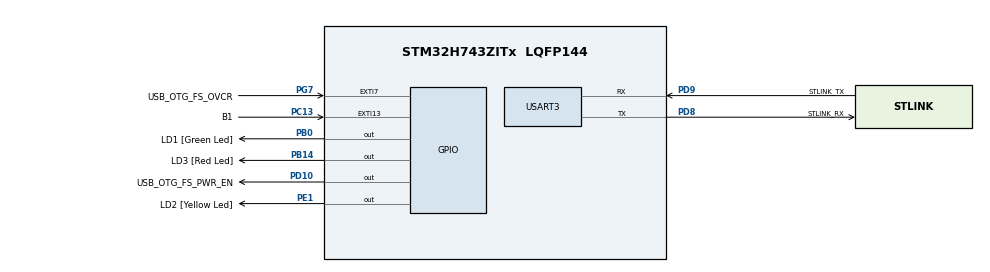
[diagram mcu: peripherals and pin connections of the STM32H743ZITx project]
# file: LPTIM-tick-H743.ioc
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CORTEX_M7.CPU_DCache=Enabled
CORTEX_M7.CPU_ICache=Enabled
FREERTOS.Tasks01=mainTask,24,256,mainOsTask,Default,NULL,Dynamic,NULL,NULL;tickTest,32,128,vTttOsTask,Default,argument,Dynamic,NULL,NULL
FREERTOS.Timers01=ledTimer,ledTimerCallback,osTimerPeriodic,Default,NULL,Dynamic,NULL;resultsTimer,resultsTimerCallback,osTimerPeriodic,Default,NULL,Dynamic,NULL
FREERTOS.configTIMER_TASK_PRIORITY=6
FREERTOS.configUSE_TICKLESS_IDLE=2
FREERTOS.configUSE_TICK_HOOK=1
LPTIM2.ClockPrescaler=LPTIM_PRESCALER_DIV1
Mcu.Family=STM32H7
Mcu.Name=STM32H743ZITx
Mcu.Package=LQFP144
NVIC.EXTI15_10_IRQn=true\:15\:0\:true\:false\:true\:true\:true\:true\:true
NVIC.LPTIM3_IRQn=true\:15\:0\:true\:false\:true\:true\:true\:true\:true
NVIC.PriorityGroup=NVIC_PRIORITYGROUP_4
NVIC.TIM6_DAC_IRQn=true\:15\:0\:false\:false\:true\:false\:false\:true\:true
NVIC.TimeBase=TIM6_DAC_IRQn
NVIC.TimeBaseIP=TIM6
NVIC.USART3_IRQn=true\:15\:0\:true\:false\:true\:true\:true\:true\:true
PA1.Signal=ETH_REF_CLK
PA11.Signal=USB_OTG_FS_DM
PA12.Signal=USB_OTG_FS_DP
PA13\ (JTMS/SWDIO).GPIO_Label=JTMS
PA13\ (JTMS/SWDIO).Signal=DEBUG_JTMS-SWDIO
PA14\ (JTCK/SWCLK).GPIO_Label=JTCK
PA14\ (JTCK/SWCLK).Signal=DEBUG_JTCK-SWCLK
PA2.Signal=ETH_MDIO
PA7.Signal=ETH_CRS_DV
PA8.Signal=USB_OTG_FS_SOF
PA9.Signal=USB_OTG_FS_VBUS
PB0.GPIO_Label=LD1 [Green Led]
PB0.Signal=GPIO_Output
PB13.Signal=ETH_TXD1
PB14.GPIO_Label=LD3 [Red Led]
PB14.Signal=GPIO_Output
PC1.Signal=ETH_MDC
PC13.GPIO_Label=B1
PC13.Signal=GPXTI13
PC14-OSC32_IN\ (OSC32_IN).Mode=LSE-External-Oscillator
PC14-OSC32_IN\ (OSC32_IN).Signal=RCC_OSC32_IN
PC15-OSC32_OUT\ (OSC32_OUT).Mode=LSE-External-Oscillator
PC15-OSC32_OUT\ (OSC32_OUT).Signal=RCC_OSC32_OUT
PC4.Signal=ETH_RXD0
PC5.Signal=ETH_RXD1
PD10.GPIO_Label=USB_OTG_FS_PWR_EN
PD10.Signal=GPIO_Output
PD8.GPIO_Label=STLINK_RX
PD8.Mode=Asynchronous
PD8.Signal=USART3_TX
PD9.GPIO_Label=STLINK_TX
PD9.Mode=Asynchronous
PD9.Signal=USART3_RX
PE1.GPIO_Label=LD2 [Yellow Led]
PE1.Signal=GPIO_Output
PG11.Signal=ETH_TX_EN
PG13.Signal=ETH_TXD0
PG7.GPIO_Label=USB_OTG_FS_OVCR
PG7.Signal=GPXTI7
PH0-OSC_IN\ (PH0).Signal=RCC_OSC_IN
PH1-OSC_OUT\ (PH1).Signal=RCC_OSC_OUT
ProjectManager.HeapSize=0x200
ProjectManager.StackSize=0x400
ProjectManager.TargetToolchain=Makefile
RCC.ADCFreq_Value=32250000
RCC.APB1Freq_Value=8000000
RCC.APB2Freq_Value=16000000
RCC.APB3Freq_Value=16000000
RCC.APB4Freq_Value=8000000
RCC.CortexFreq_Value=16000000
RCC.D2PPRE1=RCC_APB1_DIV2
RCC.D3PPRE=RCC_APB4_DIV2
RCC.HCLKFreq_Value=16000000
RCC.HSIDiv=RCC_PLLSAIDIVR_4
RCC.LPTIM2CLockSelection=RCC_LPTIM2CLKSOURCE_LSE
RCC.LPTIM345CLockSelection=RCC_LPTIM345CLKSOURCE_LSE
RCC.ProductRev=revY
RCC.RTCClockSelection=RCC_RTCCLKSOURCE_LSE
RCC.SYSCLKFreq_VALUE=16000000
RCC.USART234578CLockSelection=RCC_USART234578CLKSOURCE_HSI
RCC.USBFreq_Value=32250000
RTC.AsynchPrediv=3
RTC.SynchPrediv=8191
USART3.VirtualMode-Asynchronous=VM_ASYNC
VP_FREERTOS_VS_CMSIS_V2.Mode=CMSIS_V2
VP_LPTIM2_VS_LPTIM_counterModeInternalClock.Mode=Counts__internal_clock_event_00
VP_LPTIM3_VS_LPTIM_counterModeInternalClock.Mode=Counts__internal_clock_event_00
VP_RTC_VS_RTC_Activate.Mode=RTC_Enabled
VP_SYS_VS_tim6.Mode=TIM6
board=NUCLEO-H743ZI2

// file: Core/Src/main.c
/* USER CODE BEGIN Header */
/**
  ******************************************************************************
  * @file           : main.c
  * @brief          : Main program body
  ******************************************************************************
  * @attention
  *
  * Copyright (c) 2023 STMicroelectronics.
  * All rights reserved.
  *
  * This software is licensed under terms that can be found in the LICENSE file
  * in the root directory of this software component.
  * If no LICENSE file comes with this software, it is provided AS-IS.
  *
  ******************************************************************************
  */
/* USER CODE END Header */
#include "main.h"
#include "cmsis_os.h"

/* USER CODE BEGIN Includes */

#include <stdio.h>
#include <string.h>
#include "testTickTiming.h"
#include "ulp.h"
#include "timers.h"

/* USER CODE END Includes */

/* USER CODE BEGIN PD */
#define NOTIFICATION_FLAG_B1_PIN    (1UL << 0)
#define NOTIFICATION_FLAG_LED_BLIP  (1UL << 1)
#define NOTIFICATION_FLAG_RESULTS   (1UL << 2)
/* USER CODE END PD */

LPTIM_HandleTypeDef hlptim3;

RTC_HandleTypeDef hrtc;

UART_HandleTypeDef huart3;

/* Definitions for mainTask */
osThreadId_t mainTaskHandle;
const osThreadAttr_t mainTask_attributes = {
  .name = "mainTask",
  .stack_size = 256 * 4,
  .priority = (osPriority_t) osPriorityNormal,
};
/* Definitions for tickTest */
osThreadId_t tickTestHandle;
const osThreadAttr_t tickTest_attributes = {
  .name = "tickTest",
  .stack_size = 128 * 4,
  .priority = (osPriority_t) osPriorityAboveNormal,
};
/* Definitions for ledTimer */
osTimerId_t ledTimerHandle;
const osTimerAttr_t ledTimer_attributes = {
  .name = "ledTimer"
};
/* Definitions for resultsTimer */
osTimerId_t resultsTimerHandle;
const osTimerAttr_t resultsTimer_attributes = {
  .name = "resultsTimer"
};

void SystemClock_Config(void);
static void MX_GPIO_Init(void);
static void MX_USART3_UART_Init(void);
static void MX_RTC_Init(void);
static void MX_LPTIM3_Init(void);
void mainOsTask(void *argument);
void ledTimerCallback(void *argument);
void resultsTimerCallback(void *argument);

/* USER CODE BEGIN PFP */
extern void vTttOsTask(void *argument);

/* USER CODE END PFP */

/* USER CODE BEGIN 0 */
#define DEMO_STATE_TEST_1  0
#define DEMO_STATE_TEST_2  1
#define DEMO_STATE_TEST_3  2
#define MAX_DEMO_STATE     DEMO_STATE_TEST_3
static void vSetDemoState( BaseType_t state )
{
   //      Assume for now that we're activating a demo state that doesn't need LPTIM3, our stress-test actor.
   //
   if (LPTIM3->CR & LPTIM_CR_ENABLE)
   {
      HAL_LPTIM_Counter_Stop_IT(&hlptim3);
      vUlpOnPeripheralsInactive(ulpPERIPHERAL_LPTIM3);
   }

   uint32_t ledIntervalMs = 0;
   if (state == DEMO_STATE_TEST_1)
   {
      //      Demonstrate minimum energy consumption.  With configUSE_TICKLESS_IDLE == 2 (lptimTick.c), we
      // draw only 2uA, with RTC, and with FreeRTOS timers/timeouts/delays active.
      //
      ledIntervalMs = 5000UL;
      vTttSetEvalInterval( portMAX_DELAY );
      osTimerStop(resultsTimerHandle);
   }
   else if (state == DEMO_STATE_TEST_2)
   {
      //      Instruct the tick-timing test to sample the tick timing every 10 milliseconds.  Sampling faster
      // would require that we open the pass/fail criteria to accommodate a couple hundred microseconds of
      // jitter or tick "jump" since that criteria is expressed as a percentage of the sampling interval.
      // Sampling much slower might allow large jitter or "jump" that should be caught as an error, again
      // because jitter is measured as a percentage of the sampling interval.
      //
      #define TICK_TEST_SAMPLING_INTERVAL_MS 10

      //      Demonstrate energy consumption waking every 10ms, and test the tick timing.
      //
      ledIntervalMs = 2000UL;
      vTttSetEvalInterval( pdMS_TO_TICKS(TICK_TEST_SAMPLING_INTERVAL_MS) );
      osTimerStart(resultsTimerHandle, 1000UL);
   }
   else if (state == DEMO_STATE_TEST_3)
   {
      //      In state 2, add an actor to stress the tick timing.  Use LPTIM3 interrupts since that timer
      // keeps operating in STOP 1 mode, which allows us to keep demonstrating low-power operation.
      //
      //      Carefully select the interval of the nuisance interrupts to be slightly longer than the tick-
      // test sampling interval.  The sampling interval drives the "expected idle time" in the tickless logic,
      // so a nuisance interval slightly longer ensures lots of different interrupt timing, including some
      // tickless periods lasting the full expected idle time.  For example, with a 10ms sampling interval,
      // there are 327.68 LSE cycles between samplings, on average.  The code below would set up the nuisance
      // interrupt to be every 328 LSE cycles for that case.  (The value passed to the HAL is 327, but the
      // period ends up being 328 due to LPTIM reload behavior.)
      //
      //      Based on the discussion above, a good long soak test is strongly recommended here.
      //
      vUlpOnPeripheralsActive(ulpPERIPHERAL_LPTIM3);
      HAL_LPTIM_Counter_Start_IT(&hlptim3, (TICK_TEST_SAMPLING_INTERVAL_MS * LSE_VALUE) / 1000U);

      ledIntervalMs = 1000UL;
      vTttSetEvalInterval( pdMS_TO_TICKS(TICK_TEST_SAMPLING_INTERVAL_MS) );
      osTimerStart(resultsTimerHandle, 1000UL);
   }
   else
   {
      configASSERT(0);
   }

   if (ledIntervalMs != 0)
   {
      osTimerStart(ledTimerHandle, ledIntervalMs);
      xTaskNotify(mainTaskHandle, NOTIFICATION_FLAG_LED_BLIP, eSetBits);
   }

   char banner[100];
   int len = sprintf(banner, "\r\n\r\nRunning Test %d.", (int)state + 1);
   if (state != DEMO_STATE_TEST_1)
   {
      len += sprintf(&banner[len], "  Jumps are shown as %% of %d ms.\r\n",
                     TICK_TEST_SAMPLING_INTERVAL_MS);
   }
   HAL_UART_Transmit(&huart3, (uint8_t*)banner, len, HAL_MAX_DELAY);
}

static int lDescribeTickTestResults(TttResults_t* results, int periodNumber, char* dest)
{
   int durationSeconds = (results->durationSs + results->subsecondsPerSecond/2) / results->subsecondsPerSecond;
   return (sprintf(dest, "Period %d: %d s, drift: %d/%d s, jump: %+d%% (min), %+d%% (max)",
                   periodNumber,
                   durationSeconds,
                   (int)results->driftSs, (int) results->subsecondsPerSecond,
                   results->minDriftRatePct,
                   results->maxDriftRatePct));
}

static BaseType_t xUpdateResults( int xDemoState )
{
   static int resultsCount = 0;

   TttResults_t complete, inProgress;
   vTttGetResults(&complete, &inProgress);

   //      Build the results text here.  Use a "large" buffer because the results might require two lines of
   // terminal output.  The buffer is static so its contents remain valid even after we return from this
   // function.  In turn this allows us to return to our caller without waiting for the UART to finish.
   //
   static char textResults[200];
   static const char* const eraseLine = "\r\x1B[K";
   int resultsLen = sprintf(textResults, "%s", eraseLine);

   if (resultsCount != complete.resultsCounter)
   {
      resultsCount = complete.resultsCounter;
      if (resultsCount != 0)
      {
         resultsLen += lDescribeTickTestResults(&complete, resultsCount, &textResults[resultsLen]);
         resultsLen += sprintf(&textResults[resultsLen], "\r\n");
      }
   }

   resultsLen += lDescribeTickTestResults(&inProgress, resultsCount + 1, &textResults[resultsLen]);

   //      Send the results to the terminal.  In test 3, use interrupt-driven I/O with the terminal as
   // a way to enhance the stress test.  The interrupts induce a rapid sequence of early wake-ups from
   // tickless idle (if enabled).  This barrage of early wake-ups is a great stress test for the tickless
   // logic.  In the other demo states, use busy-wait I/O to avoid adding a test actor when we don't want one.
   //
   if (xDemoState == DEMO_STATE_TEST_3)
   {
      vUlpOnPeripheralsActive(ulpPERIPHERAL_USART3);
      HAL_UART_Transmit_IT(&huart3, (uint8_t*)textResults, resultsLen);
   }
   else
   {
      //      Because busy-wait I/O keeps this task "ready", it also prevents tickless idle, so we don't need
      // to bother notifying the ULP driver that the UART peripheral is active.
      //
      // vUlpOnPeripheralsActive(ulpPERIPHERAL_USART3);
      HAL_UART_Transmit(&huart3, (uint8_t*)textResults, resultsLen, HAL_MAX_DELAY);
      // vUlpOnPeripheralsInactive(ulpPERIPHERAL_USART3);
   }

   //      Apply some pass/fail criteria and report any failures.
   //
   BaseType_t isFailure = pdFALSE;
   if (inProgress.minDriftRatePct < -2 || inProgress.maxDriftRatePct > 2)
   {
      isFailure = pdTRUE;
   }

   return (isFailure);
}

void HAL_UART_TxCpltCallback(UART_HandleTypeDef *huart)
{
   vUlpOnPeripheralsInactiveFromISR(ulpPERIPHERAL_USART3);
}

void vBlipLed( uint32_t ms )
{
   HAL_GPIO_WritePin(LD2_GPIO_Port, LD2_Pin, GPIO_PIN_SET);
   osDelay(ms);
   HAL_GPIO_WritePin(LD2_GPIO_Port, LD2_Pin, GPIO_PIN_RESET);
}
/* USER CODE END 0 */

int main(void)
{
/* Enable the CPU Cache */

  /* Enable I-Cache---------------------------------------------------------*/
  SCB_EnableICache();

  /* Enable D-Cache---------------------------------------------------------*/
  SCB_EnableDCache();

  /* MCU Configuration--------------------------------------------------------*/

  /* Reset of all peripherals, Initializes the Flash interface and the Systick. */
  HAL_Init();

  /* USER CODE BEGIN Init */

  //      Compensate for a CubeMX omission in HAL_InitTick() in stm32l4xx_hal_timebase_tim.c.
  //
  uwTickPrio = TICK_INT_PRIORITY;

  /* USER CODE END Init */

  /* Configure the system clock */
  SystemClock_Config();

  /* USER CODE BEGIN SysInit */

  //      Initialize Ultra-Low Power support (ULP).
  //
  vUlpInit();
  /* USER CODE END SysInit */

  /* Initialize all configured peripherals */
  MX_GPIO_Init();
  MX_USART3_UART_Init();
  MX_RTC_Init();
  MX_LPTIM3_Init();
  /* USER CODE BEGIN 2 */

  //      If the user is currently holding the blue button down, clear DBGMCU->CR.  This step prevents the
  // debugger from keeping clocks and regulators running when we use a low-power mode.  This in turn allows
  // the user to observe the "true" impact of low-power modes on current consumption.  Note that the debugger
  // will lose its connection as soon as we use a low-power mode, but we don't have any choice if we want to
  // see "true" current consumption.
  //
  if ( HAL_GPIO_ReadPin(B1_GPIO_Port, B1_Pin) == GPIO_PIN_SET )  // In H743Nucleo the blue button is pulled up
  {
     DBGMCU->CR = 0; // POR and BOR also clear this register, but not the reset pin, and not other resets.
  }

  /* USER CODE END 2 */

  /* Init scheduler */
  osKernelInitialize();

  /* Create the timer(s) */
  /* creation of ledTimer */
  ledTimerHandle = osTimerNew(ledTimerCallback, osTimerPeriodic, NULL, &ledTimer_attributes);

  /* creation of resultsTimer */
  resultsTimerHandle = osTimerNew(resultsTimerCallback, osTimerPeriodic, NULL, &resultsTimer_attributes);

  /* Create the thread(s) */
  /* creation of mainTask */
  mainTaskHandle = osThreadNew(mainOsTask, NULL, &mainTask_attributes);

  /* creation of tickTest */
  tickTestHandle = osThreadNew(vTttOsTask, &hrtc, &tickTest_attributes);

  /* Start scheduler */
  osKernelStart();

  /* We should never get here as control is now taken by the scheduler */
  /* Infinite loop */
  while (1)
  {

  }
}

void SystemClock_Config(void)
{
  RCC_OscInitTypeDef RCC_OscInitStruct = {0};
  RCC_ClkInitTypeDef RCC_ClkInitStruct = {0};

  /** Supply configuration update enable
  */
  HAL_PWREx_ConfigSupply(PWR_LDO_SUPPLY);

  /** Configure the main internal regulator output voltage
  */
  __HAL_PWR_VOLTAGESCALING_CONFIG(PWR_REGULATOR_VOLTAGE_SCALE3);

  while(!__HAL_PWR_GET_FLAG(PWR_FLAG_VOSRDY)) {}

  /** Configure LSE Drive Capability
  */
  HAL_PWR_EnableBkUpAccess();
  __HAL_RCC_LSEDRIVE_CONFIG(RCC_LSEDRIVE_LOW);

  /** Initializes the RCC Oscillators according to the specified parameters
  * in the RCC_OscInitTypeDef structure.
  */
  RCC_OscInitStruct.OscillatorType = RCC_OSCILLATORTYPE_HSI|RCC_OSCILLATORTYPE_LSE;
  RCC_OscInitStruct.LSEState = RCC_LSE_ON;
  RCC_OscInitStruct.HSIState = RCC_HSI_DIV4;
  RCC_OscInitStruct.HSICalibrationValue = RCC_HSICALIBRATION_DEFAULT;
  RCC_OscInitStruct.PLL.PLLState = RCC_PLL_NONE;
  if (HAL_RCC_OscConfig(&RCC_OscInitStruct) != HAL_OK)
  {
    Error_Handler();
  }

  /** Initializes the CPU, AHB and APB buses clocks
  */
  RCC_ClkInitStruct.ClockType = RCC_CLOCKTYPE_HCLK|RCC_CLOCKTYPE_SYSCLK
                              |RCC_CLOCKTYPE_PCLK1|RCC_CLOCKTYPE_PCLK2
                              |RCC_CLOCKTYPE_D3PCLK1|RCC_CLOCKTYPE_D1PCLK1;
  RCC_ClkInitStruct.SYSCLKSource = RCC_SYSCLKSOURCE_HSI;
  RCC_ClkInitStruct.SYSCLKDivider = RCC_SYSCLK_DIV1;
  RCC_ClkInitStruct.AHBCLKDivider = RCC_HCLK_DIV1;
  RCC_ClkInitStruct.APB3CLKDivider = RCC_APB3_DIV1;
  RCC_ClkInitStruct.APB1CLKDivider = RCC_APB1_DIV2;
  RCC_ClkInitStruct.APB2CLKDivider = RCC_APB2_DIV1;
  RCC_ClkInitStruct.APB4CLKDivider = RCC_APB4_DIV2;

  if (HAL_RCC_ClockConfig(&RCC_ClkInitStruct, FLASH_LATENCY_0) != HAL_OK)
  {
    Error_Handler();
  }
}

static void MX_LPTIM3_Init(void)
{

  hlptim3.Instance = LPTIM3;
  hlptim3.Init.Clock.Source = LPTIM_CLOCKSOURCE_APBCLOCK_LPOSC;
  hlptim3.Init.Clock.Prescaler = LPTIM_PRESCALER_DIV1;
  hlptim3.Init.Trigger.Source = LPTIM_TRIGSOURCE_SOFTWARE;
  hlptim3.Init.OutputPolarity = LPTIM_OUTPUTPOLARITY_HIGH;
  hlptim3.Init.UpdateMode = LPTIM_UPDATE_IMMEDIATE;
  hlptim3.Init.CounterSource = LPTIM_COUNTERSOURCE_INTERNAL;
  hlptim3.Init.Input1Source = LPTIM_INPUT1SOURCE_GPIO;
  if (HAL_LPTIM_Init(&hlptim3) != HAL_OK)
  {
    Error_Handler();
  }
  /* USER CODE BEGIN LPTIM3_Init 2 */
  // This is required for LPTIM3 to work in stop mode.
  __HAL_RCC_LPTIM3_CLKAM_ENABLE();
  // The same for sleep mode.
  __HAL_RCC_LPTIM3_CLK_SLEEP_ENABLE();
  /* USER CODE END LPTIM3_Init 2 */

}

static void MX_RTC_Init(void)
{

  /** Initialize RTC Only
  */
  hrtc.Instance = RTC;
  hrtc.Init.HourFormat = RTC_HOURFORMAT_24;
  hrtc.Init.AsynchPrediv = 3;
  hrtc.Init.SynchPrediv = 8191;
  hrtc.Init.OutPut = RTC_OUTPUT_DISABLE;
  hrtc.Init.OutPutPolarity = RTC_OUTPUT_POLARITY_HIGH;
  hrtc.Init.OutPutType = RTC_OUTPUT_TYPE_OPENDRAIN;
  hrtc.Init.OutPutRemap = RTC_OUTPUT_REMAP_NONE;
  if (HAL_RTC_Init(&hrtc) != HAL_OK)
  {
    Error_Handler();
  }

}

static void MX_USART3_UART_Init(void)
{

  huart3.Instance = USART3;
  huart3.Init.BaudRate = 115200;
  huart3.Init.WordLength = UART_WORDLENGTH_8B;
  huart3.Init.StopBits = UART_STOPBITS_1;
  huart3.Init.Parity = UART_PARITY_NONE;
  huart3.Init.Mode = UART_MODE_TX_RX;
  huart3.Init.HwFlowCtl = UART_HWCONTROL_NONE;
  huart3.Init.OverSampling = UART_OVERSAMPLING_16;
  huart3.Init.OneBitSampling = UART_ONE_BIT_SAMPLE_DISABLE;
  huart3.Init.ClockPrescaler = UART_PRESCALER_DIV1;
  huart3.AdvancedInit.AdvFeatureInit = UART_ADVFEATURE_NO_INIT;
  if (HAL_UART_Init(&huart3) != HAL_OK)
  {
    Error_Handler();
  }
  if (HAL_UARTEx_SetTxFifoThreshold(&huart3, UART_TXFIFO_THRESHOLD_1_8) != HAL_OK)
  {
    Error_Handler();
  }
  if (HAL_UARTEx_SetRxFifoThreshold(&huart3, UART_RXFIFO_THRESHOLD_1_8) != HAL_OK)
  {
    Error_Handler();
  }
  if (HAL_UARTEx_DisableFifoMode(&huart3) != HAL_OK)
  {
    Error_Handler();
  }

}

static void MX_GPIO_Init(void)
{
  GPIO_InitTypeDef GPIO_InitStruct = {0};

  /* GPIO Ports Clock Enable */
  __HAL_RCC_GPIOC_CLK_ENABLE();
  __HAL_RCC_GPIOH_CLK_ENABLE();
  __HAL_RCC_GPIOA_CLK_ENABLE();
  __HAL_RCC_GPIOB_CLK_ENABLE();
  __HAL_RCC_GPIOD_CLK_ENABLE();
  __HAL_RCC_GPIOG_CLK_ENABLE();
  __HAL_RCC_GPIOE_CLK_ENABLE();

  /*Configure GPIO pin Output Level */
  HAL_GPIO_WritePin(GPIOB, LD1_Pin|LD3_Pin, GPIO_PIN_RESET);

  /*Configure GPIO pin Output Level */
  HAL_GPIO_WritePin(USB_OTG_FS_PWR_EN_GPIO_Port, USB_OTG_FS_PWR_EN_Pin, GPIO_PIN_RESET);

  /*Configure GPIO pin Output Level */
  HAL_GPIO_WritePin(LD2_GPIO_Port, LD2_Pin, GPIO_PIN_RESET);

  /*Configure GPIO pin : B1_Pin */
  GPIO_InitStruct.Pin = B1_Pin;
  GPIO_InitStruct.Mode = GPIO_MODE_IT_RISING;
  GPIO_InitStruct.Pull = GPIO_NOPULL;
  HAL_GPIO_Init(B1_GPIO_Port, &GPIO_InitStruct);

  /*Configure GPIO pins : PC1 PC4 PC5 */
  GPIO_InitStruct.Pin = GPIO_PIN_1|GPIO_PIN_4|GPIO_PIN_5;
  GPIO_InitStruct.Mode = GPIO_MODE_AF_PP;
  GPIO_InitStruct.Pull = GPIO_NOPULL;
  GPIO_InitStruct.Speed = GPIO_SPEED_FREQ_LOW;
  GPIO_InitStruct.Alternate = GPIO_AF11_ETH;
  HAL_GPIO_Init(GPIOC, &GPIO_InitStruct);

  /*Configure GPIO pins : PA1 PA2 PA7 */
  GPIO_InitStruct.Pin = GPIO_PIN_1|GPIO_PIN_2|GPIO_PIN_7;
  GPIO_InitStruct.Mode = GPIO_MODE_AF_PP;
  GPIO_InitStruct.Pull = GPIO_NOPULL;
  GPIO_InitStruct.Speed = GPIO_SPEED_FREQ_LOW;
  GPIO_InitStruct.Alternate = GPIO_AF11_ETH;
  HAL_GPIO_Init(GPIOA, &GPIO_InitStruct);

  /*Configure GPIO pins : LD1_Pin LD3_Pin */
  GPIO_InitStruct.Pin = LD1_Pin|LD3_Pin;
  GPIO_InitStruct.Mode = GPIO_MODE_OUTPUT_PP;
  GPIO_InitStruct.Pull = GPIO_NOPULL;
  GPIO_InitStruct.Speed = GPIO_SPEED_FREQ_LOW;
  HAL_GPIO_Init(GPIOB, &GPIO_InitStruct);

  /*Configure GPIO pin : PB13 */
  GPIO_InitStruct.Pin = GPIO_PIN_13;
  GPIO_InitStruct.Mode = GPIO_MODE_AF_PP;
  GPIO_InitStruct.Pull = GPIO_NOPULL;
  GPIO_InitStruct.Speed = GPIO_SPEED_FREQ_LOW;
  GPIO_InitStruct.Alternate = GPIO_AF11_ETH;
  HAL_GPIO_Init(GPIOB, &GPIO_InitStruct);

  /*Configure GPIO pin : USB_OTG_FS_PWR_EN_Pin */
  GPIO_InitStruct.Pin = USB_OTG_FS_PWR_EN_Pin;
  GPIO_InitStruct.Mode = GPIO_MODE_OUTPUT_PP;
  GPIO_InitStruct.Pull = GPIO_NOPULL;
  GPIO_InitStruct.Speed = GPIO_SPEED_FREQ_LOW;
  HAL_GPIO_Init(USB_OTG_FS_PWR_EN_GPIO_Port, &GPIO_InitStruct);

  /*Configure GPIO pin : USB_OTG_FS_OVCR_Pin */
  GPIO_InitStruct.Pin = USB_OTG_FS_OVCR_Pin;
  GPIO_InitStruct.Mode = GPIO_MODE_IT_RISING;
  GPIO_InitStruct.Pull = GPIO_NOPULL;
  HAL_GPIO_Init(USB_OTG_FS_OVCR_GPIO_Port, &GPIO_InitStruct);

  /*Configure GPIO pins : PA8 PA11 PA12 */
  GPIO_InitStruct.Pin = GPIO_PIN_8|GPIO_PIN_11|GPIO_PIN_12;
  GPIO_InitStruct.Mode = GPIO_MODE_AF_PP;
  GPIO_InitStruct.Pull = GPIO_NOPULL;
  GPIO_InitStruct.Speed = GPIO_SPEED_FREQ_LOW;
  GPIO_InitStruct.Alternate = GPIO_AF10_OTG1_FS;
  HAL_GPIO_Init(GPIOA, &GPIO_InitStruct);

  /*Configure GPIO pins : PG11 PG13 */
  GPIO_InitStruct.Pin = GPIO_PIN_11|GPIO_PIN_13;
  GPIO_InitStruct.Mode = GPIO_MODE_AF_PP;
  GPIO_InitStruct.Pull = GPIO_NOPULL;
  GPIO_InitStruct.Speed = GPIO_SPEED_FREQ_LOW;
  GPIO_InitStruct.Alternate = GPIO_AF11_ETH;
  HAL_GPIO_Init(GPIOG, &GPIO_InitStruct);

  /*Configure GPIO pin : LD2_Pin */
  GPIO_InitStruct.Pin = LD2_Pin;
  GPIO_InitStruct.Mode = GPIO_MODE_OUTPUT_PP;
  GPIO_InitStruct.Pull = GPIO_NOPULL;
  GPIO_InitStruct.Speed = GPIO_SPEED_FREQ_LOW;
  HAL_GPIO_Init(LD2_GPIO_Port, &GPIO_InitStruct);

  /* EXTI interrupt init*/
  HAL_NVIC_SetPriority(EXTI15_10_IRQn, 15, 0);
  HAL_NVIC_EnableIRQ(EXTI15_10_IRQn);

}

/* USER CODE BEGIN 4 */

void HAL_GPIO_EXTI_Callback(uint16_t GPIO_Pin)
{
   if (GPIO_Pin == B1_Pin)
   {
      //      Don't attempt to notify a task that isn't yet created.  Drop the button press instead.
      //
      if ( mainTaskHandle != NULL )
      {
         BaseType_t xWasHigherPriorityTaskWoken = pdFALSE;
         xTaskNotifyFromISR( mainTaskHandle, NOTIFICATION_FLAG_B1_PIN, eSetBits, &xWasHigherPriorityTaskWoken);
         portYIELD_FROM_ISR(xWasHigherPriorityTaskWoken);
      }
   }
}

void HAL_LPTIM_AutoReloadMatchCallback(LPTIM_HandleTypeDef *hlptim)
{
   //      The HAL calls this function when LPTIM3 has an ARR match event.  We use LPTIM3 as a stress-test
   // actor during test state 2.  This function has nothing to do with lptimTick.c or LPTIM3, but it does
   // help us *test* the tick timing provided by that code and that timer.

   //      Wake the main task, but for no reason.  We're just trying to stress test the tick timing.
   //
   BaseType_t xWasHigherPriorityTaskWoken = pdFALSE;
   xTaskNotifyFromISR( mainTaskHandle, 0, eNoAction, &xWasHigherPriorityTaskWoken);
   portYIELD_FROM_ISR(xWasHigherPriorityTaskWoken);
}

/* USER CODE END 4 */

void mainOsTask(void *argument)
{
  /* USER CODE BEGIN 5 */

   //      Stop the timer that provides the HAL tick.  Now it won't needlessly interrupt tickless idle periods
   // that use sleep mode.  (The HAL tick already can't interrupt tickless idle periods that use stop mode,
   // because the HAL timer doesn't operate in stop mode.)  In a real application, the HAL tick might be
   // required by the HAL even after FreeRTOS has control.  It's still best to stop the timer here, and then
   // define HAL_GetTick() and HAL_Delay() to use the FreeRTOS tick (and delay) once available.
   //
   //      We don't call HAL_SuspendTick() here because that function leaves TIM6 enabled and running for no
   // reason.
   //
   TIM6->CR1 &= ~TIM_CR1_CEN;  // wish CubeMX would generate a symbol for the HAL tick timer

   //      Be sure LPTIM3 ignores its input clock when the debugger stops program execution.
   //
   taskDISABLE_INTERRUPTS();
   __HAL_DBGMCU_FREEZE_LPTIM3();
   taskENABLE_INTERRUPTS();

   //      Start the demo on test 1.
   //
   BaseType_t xDemoState = DEMO_STATE_TEST_1;
   vSetDemoState(xDemoState);

   int isFailureDetected = pdFALSE;
   uint32_t notificationFlags;
   for(;;)
   {
      //      Wait forever for any notification.
      //
      xTaskNotifyWait(0, UINT32_MAX, &notificationFlags, portMAX_DELAY);

      if (notificationFlags & NOTIFICATION_FLAG_B1_PIN)
      {
         //      Advance the demo state in response to the button press.  Clear any previous test failures.
         //
         if (++xDemoState > MAX_DEMO_STATE )
         {
            xDemoState = DEMO_STATE_TEST_1;
         }

         vSetDemoState(xDemoState);

         isFailureDetected = pdFALSE;
      }

      if (notificationFlags & NOTIFICATION_FLAG_RESULTS)
      {
         //      Make failure detections "sticky" so an observer can rely on the LED even for past failures.
         // We clear past failures when we advance the demo state above (for a button press).
         //
         if (xUpdateResults( xDemoState ))
         {
            isFailureDetected = pdTRUE;
         }
      }

      if (notificationFlags & NOTIFICATION_FLAG_LED_BLIP)
      {
         //      Blip the LED for 100ms.  Blip twice if the test has failed.
         //
         vBlipLed(100UL);
         if (isFailureDetected)
         {
            osDelay(100UL);
            vBlipLed(100UL);
         }
      }
  }
  /* USER CODE END 5 */
}

/* ledTimerCallback function */
void ledTimerCallback(void *argument)
{
  /* USER CODE BEGIN ledTimerCallback */
   UNUSED(argument);

   if ( mainTaskHandle != NULL )
   {
      xTaskNotify( mainTaskHandle, NOTIFICATION_FLAG_LED_BLIP, eSetBits );
   }

  /* USER CODE END ledTimerCallback */
}

/* resultsTimerCallback function */
void resultsTimerCallback(void *argument)
{
  /* USER CODE BEGIN resultsTimerCallback */
   UNUSED(argument);

   if ( mainTaskHandle != NULL )
   {
      xTaskNotify( mainTaskHandle, NOTIFICATION_FLAG_RESULTS, eSetBits );
   }

  /* USER CODE END resultsTimerCallback */
}

void HAL_TIM_PeriodElapsedCallback(TIM_HandleTypeDef *htim)
{
  if (htim->Instance == TIM6) {
    HAL_IncTick();
  }
}

void Error_Handler(void)
{
  __disable_irq();
  while (1)
  {
  }
}

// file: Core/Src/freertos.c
/* USER CODE BEGIN Header */
/**
  ******************************************************************************
  * File Name          : freertos.c
  * Description        : Code for freertos applications
  ******************************************************************************
  * @attention
  *
  * Copyright (c) 2023 STMicroelectronics.
  * All rights reserved.
  *
  * This software is licensed under terms that can be found in the LICENSE file
  * in the root directory of this software component.
  * If no LICENSE file comes with this software, it is provided AS-IS.
  *
  ******************************************************************************
  */
/* USER CODE END Header */

#include "FreeRTOS.h"
#include "task.h"
#include "main.h"

/* Hook prototypes */
void vApplicationTickHook(void);

/* USER CODE BEGIN VPORT_SUPPORT_TICKS_AND_SLEEP */
__weak void vPortSuppressTicksAndSleep( TickType_t xExpectedIdleTime )
{
  // Generated when configUSE_TICKLESS_IDLE == 2.
  // Function called in tasks.c (in portTASK_FUNCTION).
  // TO BE COMPLETED or TO BE REPLACED by a user one, overriding that weak one.
}
/* USER CODE END VPORT_SUPPORT_TICKS_AND_SLEEP */
